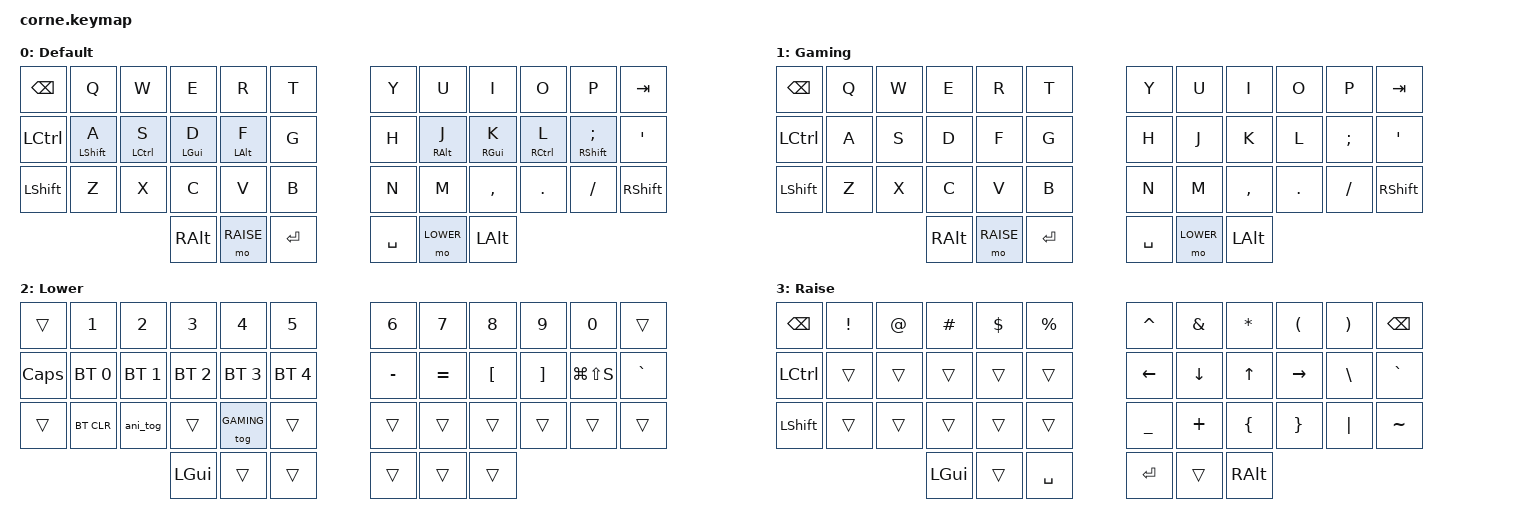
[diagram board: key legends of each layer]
/*
 * Copyright (c) 2020 The ZMK Contributors
 *
 * SPDX-License-Identifier: MIT
 */

#include <behaviors.dtsi>
#include "behaviors/anim_toggle.dtsi"

#include <dt-bindings/zmk/keys.h>
#include <dt-bindings/zmk/bt.h>

// =========== Layer Definitions ==========

#define DEFAULT 0
#define GAMING  1
#define LOWER   2
#define RAISE   3

// ================ Combos =====================


// ============== Behaviors ===================

/ {
    behaviors {
        hml: home_row_mod_left {
            compatible = "zmk,behavior-hold-tap";
            #binding-cells = <2>;
            flavor = "balanced";
            require-prior-idle-ms = <150>;
            tapping-term-ms = <280>;
            quick-tap-ms = <175>;
            bindings = <&kp>, <&kp>;
            hold-trigger-key-positions = < 
                6 7 8 9 10 11     /* right top row */
                18 19 20 21 22 23 /* right home row */
                30 31 32 33 34 35 /* right bottom row */
                39 40 41          /* right thumbs */
            >; // List of keys on the right side of the keyboard
            hold-trigger-on-release;
        };
        hmr: home_row_mod_right {
            compatible = "zmk,behavior-hold-tap";
            #binding-cells = <2>;
            flavor = "balanced";
            require-prior-idle-ms = <150>;
            tapping-term-ms = <280>;
            quick-tap-ms = <175>;
            bindings = <&kp>, <&kp>;
            hold-trigger-key-positions = <
                0 1 2 3 4 5       /* left top row */
                12 13 14 15 16 17 /* left home row */
                24 25 26 27 28 29 /* left bottom row */
                36 37 38          /* left thumbs */
            >; // List of keys on the left side of the keyboard
            hold-trigger-on-release;
        };
    };
};

// ================== Macros ====================


// =============== Layer Keymap ================= 

/ {
        keymap {
                compatible = "zmk,keymap";

                default_layer {
                        label = "Default";
// -----------------------------------------------------------------------------------------
// |   BSPC   |    Q     |    W     |    E     |    R     |    T     |   |    Y     |    U     |    I     |    O     |    P     |   TAB    |
// |   CTRL   | LSHIFT/A | CTRL/S   | LGUI/D   | LALT/F   |    G     |   |    H     | RALT/J   | RGUI/K   | RCTRL/L  | RSHIFT/; |    '     |
// |  LSHFT   |    Z     |    X     |    C     |    V     |    B     |   |    N     |    M     |    ,     |    .     |    /     |  RSHIFT  |
//                                  |   RALT   |   RSE    |   ENT    |   |   SPC    |   LWR    |   LALT   |

                        bindings = <
   &kp BSPC  &kp  Q         &kp  W        &kp  E       &kp  R       &kp T      &kp Y     &kp  U      &kp  I      &kp  O       &kp  P          &kp TAB
   &kp LCTRL &hml LSHIFT A  &hml LCTRL S  &hml LGUI D  &hml LALT F  &kp G      &kp H     &hmr RALT J &hmr RGUI K &hmr RCTRL L &hmr RSHFT SEMI &kp SQT
   &kp LSHFT &kp  Z         &kp  X        &kp  C       &kp  V       &kp B      &kp N     &kp  M      &kp  COMMA  &kp  DOT     &kp  FSLH       &kp RSHIFT
                                          &kp  RALT    &mo  RAISE   &kp RET    &kp SPACE &mo  LOWER  &kp  LALT
                        >;
                };
                gaming_layer {
                        label = "Gaming";
// -----------------------------------------------------------------------------------------
// |   BSPC   |    Q     |    W     |    E     |    R     |    T     |   |    Y     |    U     |    I     |    O     |    P     |   TAB    |
// |   CTRL   |    A     |    S     |    D     |    F     |    G     |   |    H     |    J     |    K     |    L     |    ;     |    '     |
// |  LSHFT   |    Z     |    X     |    C     |    V     |    B     |   |    N     |    M     |    ,     |    .     |    /     |  RSHIFT  |
//                                  |   RALT   |   RSE    |   ENT    |   |   SPC    |   LWR    |   LALT   |

                        bindings = <
   &kp BSPC  &kp Q  &kp W  &kp E     &kp R      &kp T      &kp Y      &kp U      &kp I      &kp O    &kp P     &kp TAB
   &kp LCTRL &kp A  &kp S  &kp D     &kp F      &kp G      &kp H      &kp J      &kp K      &kp L    &kp SEMI  &kp SQT
   &kp LSHFT &kp Z  &kp X  &kp C     &kp V      &kp B      &kp N      &kp M      &kp COMMA  &kp DOT  &kp FSLH  &kp RSHIFT
                           &kp RALT  &mo RAISE  &kp RET    &kp SPACE  &mo LOWER  &kp LALT
                        >;
                };
                lower_layer {
                        label = "Lower";
// -----------------------------------------------------------------------------------------
// |      |  1   |  2   |  3   |  4   |  5   |   |  6   |  7   |  8   |  9   |  0   |      |
// | CAPS | BT1  | BT2  | BT3  | BT4  | BT5  |   |  -   |  =   |  [   |  ]   |  SS  |  `   |
// |      |BTCLR |ANI_SW|      | GAME |      |   |      |      |      |      |      |      |
//                      | GUI  |      |      |   |      |      |      |
                        bindings = <
   &trans     &kp N1       &kp N2       &kp N3       &kp  N4       &kp N5         &kp N6    &kp N7    &kp N8   &kp N9    &kp N0              &trans 
   &kp CAPS   &bt BT_SEL 0 &bt BT_SEL 1 &bt BT_SEL 2 &bt  BT_SEL 3 &bt BT_SEL 4   &kp MINUS &kp EQUAL &kp LBKT &kp RBKT  &kp LG(LS(S)) &kp GRAVE
   &trans     &bt BT_CLR   &ani_tog     &trans       &tog GAMING   &trans         &trans    &trans    &trans   &trans    &trans              &trans
                                        &kp LGUI     &trans        &trans         &trans    &trans    &trans 
                        >;
                };
                raise_layer {
                        label = "Raise";
// -----------------------------------------------------------------------------------------
// | BSPC |  !   |  @   |  #   |  $   |  %   |   |  ^   |  &   |  *   |  (   |  )   | BSPC |
// | CTRL |      |      |      |      |      |   | LEFT | DOWN |  UP  | RIGHT|  \   |  `   |
// | SHFT |      |      |      |      |      |   |  _   |  +   |  {   |  }   | "|"  |  ~   |
//                      | GUI  |      | SPC  |   | ENT  |      | ALT  |
                        bindings = <
   &kp BSPC  &kp EXCL &kp AT &kp HASH &kp DLLR &kp PRCNT   &kp CARET &kp AMPS  &kp ASTRK &kp LPAR  &kp RPAR &kp BSPC
   &kp LCTRL &trans   &trans &trans   &trans   &trans      &kp LEFT  &kp DOWN  &kp UP    &kp RIGHT &kp BSLH &kp GRAVE
   &kp LSHFT &trans   &trans &trans   &trans   &trans      &kp UNDER &kp PLUS  &kp LBRC  &kp RBRC  &kp PIPE &kp TILDE
                             &kp LGUI &trans   &kp SPACE   &kp RET   &trans    &kp RALT
                        >;
                };

                extra1 {
                        label = "Extra1";
                        status = "reserved";
                };

                extra2 {
                        label = "Extra2";
                        status = "reserved";
                };
        };
};
